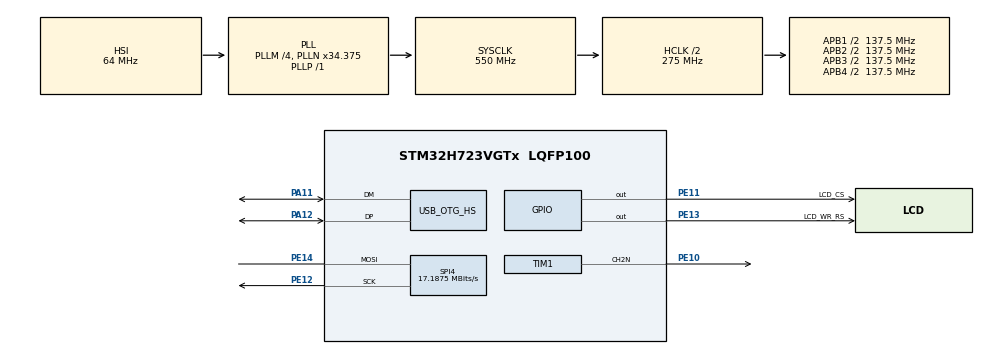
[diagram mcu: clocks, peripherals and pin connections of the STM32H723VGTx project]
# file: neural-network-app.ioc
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CORTEX_M7.CPU_DCache=Enabled
CORTEX_M7.CPU_ICache=Enabled
Mcu.Family=STM32H7
Mcu.Name=STM32H723VGTx
Mcu.Package=LQFP100
NVIC.OTG_HS_IRQn=true\:0\:0\:false\:false\:true\:false\:true\:true
NVIC.PriorityGroup=NVIC_PRIORITYGROUP_4
PA11.Mode=Device_Only_FS
PA11.Signal=USB_OTG_HS_DM
PA12.Mode=Device_Only_FS
PA12.Signal=USB_OTG_HS_DP
PC14-OSC32_IN.Mode=LSE-External-Oscillator
PC14-OSC32_IN.Signal=RCC_OSC32_IN
PC15-OSC32_OUT.Mode=LSE-External-Oscillator
PC15-OSC32_OUT.Signal=RCC_OSC32_OUT
PE10.Mode=PWM Generation2 CH2N
PE10.Signal=TIM1_CH2N
PE11.GPIO_Label=LCD_CS
PE11.Signal=GPIO_Output
PE12.Mode=Simplex_Bidirectional_Master
PE12.Signal=SPI4_SCK
PE13.GPIO_Label=LCD_WR_RS
PE13.Signal=GPIO_Output
PE14.Mode=Simplex_Bidirectional_Master
PE14.Signal=SPI4_MOSI
PH0-OSC_IN.Mode=HSE-External-Oscillator
PH0-OSC_IN.Signal=RCC_OSC_IN
PH1-OSC_OUT.Mode=HSE-External-Oscillator
PH1-OSC_OUT.Signal=RCC_OSC_OUT
ProjectManager.HeapSize=0x800
ProjectManager.StackSize=0x800
ProjectManager.TargetToolchain=STM32CubeIDE
RCC.ADCFreq_Value=608000000
RCC.APB1Freq_Value=137500000
RCC.APB2Freq_Value=137500000
RCC.APB3Freq_Value=137500000
RCC.APB4Freq_Value=137500000
RCC.CortexFreq_Value=550000000
RCC.D1PPRE=RCC_APB3_DIV2
RCC.D2PPRE1=RCC_APB1_DIV2
RCC.D2PPRE2=RCC_APB2_DIV2
RCC.D3PPRE=RCC_APB4_DIV2
RCC.DIVM1=4
RCC.DIVM2=1
RCC.DIVN1=34
RCC.DIVN2=19
RCC.DIVP1=1
RCC.DIVQ1=4
RCC.HCLKFreq_Value=275000000
RCC.HPRE=RCC_HCLK_DIV2
RCC.HSE_VALUE=8000000
RCC.PLLFRACN=3072
RCC.SYSCLKFreq_VALUE=550000000
RCC.SYSCLKSource=RCC_SYSCLKSOURCE_PLLCLK
RCC.USBCLockSelection=RCC_USBCLKSOURCE_HSI48
RCC.USBFreq_Value=48000000
SPI4.BaudRatePrescaler=SPI_BAUDRATEPRESCALER_8
SPI4.CalculateBaudRate=17.1875 MBits/s
SPI4.DataSize=SPI_DATASIZE_8BIT
SPI4.Direction=SPI_DIRECTION_1LINE
SPI4.Mode=SPI_MODE_MASTER
SPI4.VirtualType=VM_MASTER
STMicroelectronics.X-CUBE-AI.9.1.0.ActivationBufferSizeList=3828
STMicroelectronics.X-CUBE-AI.9.1.0.ActivationBuffers=pool0
STMicroelectronics.X-CUBE-AI.9.1.0.ActivationNames=pool0
STMicroelectronics.X-CUBE-AI.9.1.0.ActivationSizes=AI_NETWORK_DATA_ACTIVATION_1_SIZE
STMicroelectronics.X-CUBE-AI.9.1.0.ApplicationCcDeviceJjApplication=ApplicationTemplate
STMicroelectronics.X-CUBE-AI.9.1.0.HeapSize=0x800
STMicroelectronics.X-CUBE-AI.9.1.0.InternalRamActivationBufferMaxSize=AI_NETWORK_DATA_ACTIVATIONS_SIZE
STMicroelectronics.X-CUBE-AI.9.1.0.LatestDirectoryUsed-e6a40e1d475e88a3827beaaaf58f05d9b576204771f68cf89b49b710805a1c03=/home/freire/experiments/cube-experiments/neural-network-app
STMicroelectronics.X-CUBE-AI.9.1.0.MaximumNumberOfInputLayer=1
STMicroelectronics.X-CUBE-AI.9.1.0.MaximumNumberOfOutputLayer=1
STMicroelectronics.X-CUBE-AI.9.1.0.MaximumSizeOfInputLayer=1
STMicroelectronics.X-CUBE-AI.9.1.0.MaximumSizeOfOutputLayer=1
STMicroelectronics.X-CUBE-AI.9.1.0.ModelActualCompression-e6a40e1d475e88a3827beaaaf58f05d9b576204771f68cf89b49b710805a1c03=0.0
STMicroelectronics.X-CUBE-AI.9.1.0.ModelCompression-e6a40e1d475e88a3827beaaaf58f05d9b576204771f68cf89b49b710805a1c03=None
STMicroelectronics.X-CUBE-AI.9.1.0.ModelFlashOccupation-e6a40e1d475e88a3827beaaaf58f05d9b576204771f68cf89b49b710805a1c03=211914
STMicroelectronics.X-CUBE-AI.9.1.0.ModelHashList=e6a40e1d475e88a3827beaaaf58f05d9b576204771f68cf89b49b710805a1c03
STMicroelectronics.X-CUBE-AI.9.1.0.ModelKind-e6a40e1d475e88a3827beaaaf58f05d9b576204771f68cf89b49b710805a1c03=TFLITE
STMicroelectronics.X-CUBE-AI.9.1.0.ModelMacc-e6a40e1d475e88a3827beaaaf58f05d9b576204771f68cf89b49b710805a1c03=50817
STMicroelectronics.X-CUBE-AI.9.1.0.ModelName-e6a40e1d475e88a3827beaaaf58f05d9b576204771f68cf89b49b710805a1c03=network
STMicroelectronics.X-CUBE-AI.9.1.0.ModelNameList=network
STMicroelectronics.X-CUBE-AI.9.1.0.ModelRamOccupation-e6a40e1d475e88a3827beaaaf58f05d9b576204771f68cf89b49b710805a1c03=3828
STMicroelectronics.X-CUBE-AI.9.1.0.ModelStructureFile-e6a40e1d475e88a3827beaaaf58f05d9b576204771f68cf89b49b710805a1c03=model_vbp5.tflite
STMicroelectronics.X-CUBE-AI.9.1.0.ModelType-e6a40e1d475e88a3827beaaaf58f05d9b576204771f68cf89b49b710805a1c03=STM32Cube.AI MCU runtime
STMicroelectronics.X-CUBE-AI.9.1.0.ReadyForCodeGeneration=true
STMicroelectronics.X-CUBE-AI.9.1.0.StackSize=0x800
STMicroelectronics.X-CUBE-AI.9.1.0.WorkingBufferStartAddrList=0xFFFFFFFF
STMicroelectronics.X-CUBE-AI.9.1.0.XAaCUBEAaAICcArtificialOoIntelligenceJjCore=true
STMicroelectronics.X-CUBE-AI.9.1.0.copyWeightToRam=false
STMicroelectronics.X-CUBE-AI.9.1.0.copyWeightToRam-e6a40e1d475e88a3827beaaaf58f05d9b576204771f68cf89b49b710805a1c03=false
STMicroelectronics.X-CUBE-AI.9.1.0.customLayerConfigEnabled=false
STMicroelectronics.X-CUBE-AI.9.1.0.customLayerConfigEnabled-e6a40e1d475e88a3827beaaaf58f05d9b576204771f68cf89b49b710805a1c03=false
STMicroelectronics.X-CUBE-AI.9.1.0.noOnnxIoTranspose=false
STMicroelectronics.X-CUBE-AI.9.1.0.noOnnxIoTranspose-e6a40e1d475e88a3827beaaaf58f05d9b576204771f68cf89b49b710805a1c03=false
STMicroelectronics.X-CUBE-AI.9.1.0.optimization=time
STMicroelectronics.X-CUBE-AI.9.1.0.optimization-e6a40e1d475e88a3827beaaaf58f05d9b576204771f68cf89b49b710805a1c03=time
STMicroelectronics.X-CUBE-AI.9.1.0.useInputAllocation=true
STMicroelectronics.X-CUBE-AI.9.1.0.useInputAllocation-e6a40e1d475e88a3827beaaaf58f05d9b576204771f68cf89b49b710805a1c03=true
STMicroelectronics.X-CUBE-AI.9.1.0.useOutputAllocation=true
STMicroelectronics.X-CUBE-AI.9.1.0.useOutputAllocation-e6a40e1d475e88a3827beaaaf58f05d9b576204771f68cf89b49b710805a1c03=true
TIM1.Channel-PWM\ Generation2\ CH2N=TIM_CHANNEL_2
TIM1.Period=1000-1
TIM1.Prescaler=14-1
USB_DEVICE.CLASS_NAME_HS=CDC
USB_DEVICE.VirtualMode=Cdc
USB_DEVICE.VirtualModeHS=Cdc_HS
USB_OTG_HS.VirtualMode-Device_Only_FS=Device_Only_FS
VP_STMicroelectronics.X-CUBE-AI_VS_ArtificialOoIntelligenceJjXAaCUBEAaAI_9.1.0.Mode=ArtificialOoIntelligenceJjXAaCUBEAaAI
VP_STMicroelectronics.X-CUBE-AI_VS_DeviceJjApplication_9.1.0.Mode=DeviceJjApplication
VP_USB_DEVICE_VS_USB_DEVICE_CDC_HS.Mode=CDC_HS
board=custom

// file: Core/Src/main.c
/* USER CODE BEGIN Header */
/**
  ******************************************************************************
  * @file           : main.c
  * @brief          : Main program body
  ******************************************************************************
  * @attention
  *
  * Copyright (c) 2024 STMicroelectronics.
  * All rights reserved.
  *
  * This software is licensed under terms that can be found in the LICENSE file
  * in the root directory of this software component.
  * If no LICENSE file comes with this software, it is provided AS-IS.
  *
  ******************************************************************************
  */
/* USER CODE END Header */
#include "main.h"
#include "spi.h"
#include "tim.h"
#include "usb_device.h"
#include "gpio.h"
#include "app_x-cube-ai.h"

/* USER CODE BEGIN Includes */
#include "usbd_cdc_if.h"
#include "ai_datatypes_defines.h"
#include "ai_platform.h"
#include "network.h"
#include "network_data.h"
#include "board.h"
#include "lcd.h"
/* USER CODE END Includes */

/* USER CODE BEGIN PD */
#define SAMPLES_NUMBER	10
/* USER CODE END PD */

/* USER CODE BEGIN PV */
typedef struct {
	float ammonia;
	float nitrite;
	float temperature;
	float pH;
}input_data_t;

static input_data_t samples_input[SAMPLES_NUMBER] = {
		{1.325, 0.075, 25.000, 7.850},
		{0.500, 0.450, 27.500, 7.750},
		{0.432, 0.340, 26.500, 7.800},
		{0.285, 0.500, 27.500, 7.650},
		{0.000, 0.290, 26.000, 7.800},
		{0.250, 0.300, 26.000, 7.850},
		{0.000, 0.190, 25.600, 7.900},
		{1.500, 0.125, 25.000, 7.900},
		{0.810, 0.500, 29.000, 7.100},
		{0.100, 0.400, 26.900, 7.500},

};

static float expected_output[SAMPLES_NUMBER] = {
		6.600,
		6.300,
		6.800,
		6.700,
		6.600,
		7.000,
		6.400,
		6.500,
		5.700,
		8.000,

};

float inference_output[SAMPLES_NUMBER] = {0};
/* USER CODE END PV */

void SystemClock_Config(void);
/* USER CODE BEGIN PFP */
void appInitLCD(void);
void appDisplayInference(float inference_value, float expected_value, float ticks);
/* USER CODE END PFP */

/* USER CODE BEGIN 0 */
/* Global handle to reference the instantiated C-model */
static ai_handle network = AI_HANDLE_NULL;

/* Global c-array to handle the activations buffer */
AI_ALIGNED(32)
static ai_u8 activations[AI_NETWORK_DATA_ACTIVATIONS_SIZE];

/* Array to store the data of the input tensor */
AI_ALIGNED(32)
static ai_float in_data[AI_NETWORK_IN_1_SIZE];
/* or static ai_u8 in_data[AI_NETWORK_IN_1_SIZE_BYTES]; */

/* c-array to store the data of the output tensor */
AI_ALIGNED(32)
static ai_float out_data[AI_NETWORK_OUT_1_SIZE];
/* static ai_u8 out_data[AI_NETWORK_OUT_1_SIZE_BYTES]; */

/* Array of pointer to manage the model's input/output tensors */
static ai_buffer *ai_input;
static ai_buffer *ai_output;

uint32_t DWT_Init(void){
	/* Disable TRC */
	CoreDebug->DEMCR &= ~CoreDebug_DEMCR_TRCENA_Msk;
	/* Enable TRC */
	CoreDebug->DEMCR |=  CoreDebug_DEMCR_TRCENA_Msk;

    /* Disable clock cycle counter */
    DWT->CTRL &= ~DWT_CTRL_CYCCNTENA_Msk; //~0x00000001;
    /* Enable  clock cycle counter */
    DWT->CTRL |=  DWT_CTRL_CYCCNTENA_Msk; //0x00000001;

    /* Reset the clock cycle counter value */
    DWT->CYCCNT = 0;

    /* 3 NO OPERATION instructions */
    __ASM volatile ("NOP");
    __ASM volatile ("NOP");
    __ASM volatile ("NOP");

    /* Check if clock cycle counter has started */
    if(DWT->CYCCNT)
    {
       return 0; /*clock cycle counter started*/
    }
    else
    {
      return 1; /*clock cycle counter not started*/
    }
}

/*
 * Bootstrap
 */
int aiInit(void) {
  ai_error err;

  /* Create and initialize the c-model */
  const ai_handle acts[] = { activations };
  err = ai_network_create_and_init(&network, acts, NULL);
  if (err.type != AI_ERROR_NONE)
  {
	  return 0;
  }
  /* Retrieve pointers to the model's input/output tensors */
  ai_input = ai_network_inputs_get(network, NULL);
  ai_output = ai_network_outputs_get(network, NULL);

  return 0;
}

/*
 * Run inference
 */
int aiRun(const void *in_data, void *out_data) {
  ai_i32 n_batch;
  ai_error err;

  /* 1 - Update IO handlers with the data payload */
  ai_input[0].data = AI_HANDLE_PTR(in_data);
  ai_output[0].data = AI_HANDLE_PTR(out_data);

  /* 2 - Perform the inference */
  n_batch = ai_network_run(network, &ai_input[0], &ai_output[0]);
  if (n_batch != 1) {
      err = ai_network_get_error(network);
  };

  return 0;
}

int aiPreProcess(ai_float* input_array, int index) {

	input_array[0] = samples_input[index].ammonia; // Ammonia value
	input_array[1] = samples_input[index].nitrite; // Nitrite
	input_array[2] = samples_input[index].temperature;	// Temperature
	input_array[3] = samples_input[index].pH;  // pH

	return 0;
}

int aiPostProcess(ai_float* inference_value, int index, float inference_time) {
//	float convertToUS = (inference_time / HAL_RCC_GetHCLKFreq()) * 1000000;
	float time = 0;
  uint8_t txBuffer[40] = {0};
	//Store inference output on comparison buffer
	inference_output[index] = inference_value[0];
	time = (inference_time / HAL_RCC_GetHCLKFreq()) * 1000000;
	appDisplayInference(inference_value[0], expected_output[index], time);
  sprintf(txBuffer, "Expected: %.3f\n\rInference: %.3f\n\r", expected_output[index], inference_value[0]);
	CDC_Transmit_HS(txBuffer, 40);
	return 0;
}

/* USER CODE END 0 */

int main(void)
{
/* Enable the CPU Cache */

  /* Enable I-Cache---------------------------------------------------------*/
  SCB_EnableICache();

  /* Enable D-Cache---------------------------------------------------------*/
//  SCB_EnableDCache();

  /* MCU Configuration--------------------------------------------------------*/

  /* Reset of all peripherals, Initializes the Flash interface and the Systick. */
  HAL_Init();

  /* Configure the system clock */
  SystemClock_Config();

  /* Initialize all configured peripherals */
  MX_GPIO_Init();
  MX_SPI4_Init();
  MX_TIM1_Init();
  MX_USB_DEVICE_Init();
//  MX_X_CUBE_AI_Init();
  /* USER CODE BEGIN 2 */
  DWT_Init();
  /* USER CODE END 2 */

  /* Infinite loop */
  /* USER CODE BEGIN WHILE */
  uint32_t ticks = DWT->CYCCNT;
  appInitLCD();
  HAL_Delay(1500);
  LCD_SetBrightness(0);
  ST7735_FillRect(&st7735_pObj, 0,0, ST7735Ctx.Width, 80, BLACK);
  uint8_t text[] = "Hello world!";
  sprintf((char *)&text, "Device took %03d ms to boot!", ((HAL_GetTick() - ticks)));
  LCD_ShowString(4, 4, 160, 16, 16, text);

  aiInit();
  while (1)
  {
	  for(int i = 0; i < SAMPLES_NUMBER; i++) {
	  /* Put data onto input buffers */
	  aiPreProcess(in_data, i);
	  ticks = DWT->CYCCNT;
	  /* Call inference engine */
	  aiRun(in_data, out_data); // All the network initialization and in/out handling is done in 'app_x-cube-ai.c'
	  /* Post-process data */
	  ticks = (DWT->CYCCNT) - ticks;
	  aiPostProcess(out_data, i, ticks);

	  HAL_Delay(1000);
	  }
	 __asm("NOP");
    /* USER CODE END WHILE */

//  MX_X_CUBE_AI_Process();
  }
}

void SystemClock_Config(void)
{
  RCC_OscInitTypeDef RCC_OscInitStruct = {0};
  RCC_ClkInitTypeDef RCC_ClkInitStruct = {0};

  /** Supply configuration update enable
  */
  HAL_PWREx_ConfigSupply(PWR_LDO_SUPPLY);

  /** Configure the main internal regulator output voltage
  */
  __HAL_PWR_VOLTAGESCALING_CONFIG(PWR_REGULATOR_VOLTAGE_SCALE0);

  while(!__HAL_PWR_GET_FLAG(PWR_FLAG_VOSRDY)) {}

  /** Initializes the RCC Oscillators according to the specified parameters
  * in the RCC_OscInitTypeDef structure.
  */
  RCC_OscInitStruct.OscillatorType = RCC_OSCILLATORTYPE_HSI48|RCC_OSCILLATORTYPE_HSI;
  RCC_OscInitStruct.HSIState = RCC_HSI_DIV1;
  RCC_OscInitStruct.HSICalibrationValue = 64;
  RCC_OscInitStruct.HSI48State = RCC_HSI48_ON;
  RCC_OscInitStruct.PLL.PLLState = RCC_PLL_ON;
  RCC_OscInitStruct.PLL.PLLSource = RCC_PLLSOURCE_HSI;
  RCC_OscInitStruct.PLL.PLLM = 4;
  RCC_OscInitStruct.PLL.PLLN = 34;
  RCC_OscInitStruct.PLL.PLLP = 1;
  RCC_OscInitStruct.PLL.PLLQ = 4;
  RCC_OscInitStruct.PLL.PLLR = 2;
  RCC_OscInitStruct.PLL.PLLRGE = RCC_PLL1VCIRANGE_3;
  RCC_OscInitStruct.PLL.PLLVCOSEL = RCC_PLL1VCOWIDE;
  RCC_OscInitStruct.PLL.PLLFRACN = 3072;
  if (HAL_RCC_OscConfig(&RCC_OscInitStruct) != HAL_OK)
  {
    Error_Handler();
  }

  /** Initializes the CPU, AHB and APB buses clocks
  */
  RCC_ClkInitStruct.ClockType = RCC_CLOCKTYPE_HCLK|RCC_CLOCKTYPE_SYSCLK
                              |RCC_CLOCKTYPE_PCLK1|RCC_CLOCKTYPE_PCLK2
                              |RCC_CLOCKTYPE_D3PCLK1|RCC_CLOCKTYPE_D1PCLK1;
  RCC_ClkInitStruct.SYSCLKSource = RCC_SYSCLKSOURCE_PLLCLK;
  RCC_ClkInitStruct.SYSCLKDivider = RCC_SYSCLK_DIV1;
  RCC_ClkInitStruct.AHBCLKDivider = RCC_HCLK_DIV2;
  RCC_ClkInitStruct.APB3CLKDivider = RCC_APB3_DIV2;
  RCC_ClkInitStruct.APB1CLKDivider = RCC_APB1_DIV2;
  RCC_ClkInitStruct.APB2CLKDivider = RCC_APB2_DIV2;
  RCC_ClkInitStruct.APB4CLKDivider = RCC_APB4_DIV2;

  if (HAL_RCC_ClockConfig(&RCC_ClkInitStruct, FLASH_LATENCY_3) != HAL_OK)
  {
    Error_Handler();
  }
}

/* USER CODE BEGIN 4 */
void appInitLCD(void){
	uint8_t text[20] = {0};

	ST7735Ctx.Orientation = ST7735_ORIENTATION_LANDSCAPE_ROT180;
	ST7735Ctx.Panel = HannStar_Panel;
	ST7735Ctx.Type = ST7735_0_9_inch_screen;

	ST7735_RegisterBusIO(&st7735_pObj,&st7735_pIO);
	ST7735_LCD_Driver.Init(&st7735_pObj,ST7735_FORMAT_RBG565,&ST7735Ctx);
	ST7735_LCD_Driver.ReadID(&st7735_pObj,&st7735_id);

	LCD_SetBrightness(0);

	ST7735_LCD_Driver.FillRect(&st7735_pObj, 0, 0, ST7735Ctx.Width,ST7735Ctx.Height, BLACK);
	sprintf((char *)&text, "Starting App");
	LCD_ShowString(4, 4, ST7735Ctx.Width, 16, 16, text);
	sprintf((char *)&text, "Booting up device");
	LCD_ShowString(4, 22, ST7735Ctx.Width, 16, 16, text);

	LCD_Light(100, 200);

}

void appDisplayInference(float inference_value, float expected_value, float ticks) {
	uint8_t string_expected[50] = {0};
	uint8_t string_inference[50] = {0};
	uint8_t string_time[30] = {0};
	uint8_t string_mse[30] = {0};
	float mse_result = 0;

	mse_result = powf((inference_value - expected_value), 2);

	LCD_SetBrightness(0);
	ST7735_LCD_Driver.FillRect(&st7735_pObj, 0, 0, ST7735Ctx.Width,ST7735Ctx.Height, BLACK);

	sprintf((char *)&string_expected, "Expected: %.3f", expected_value);
	LCD_ShowString(4, 4, ST7735Ctx.Width, 16, 16, string_expected);

	sprintf((char *)&string_inference, "Inference: %.3f", inference_value);
	LCD_ShowString(4, 22, ST7735Ctx.Width, 16, 16, string_inference);

	sprintf((char *)&string_mse, "MSE: %.4f", mse_result);
	LCD_ShowString(4, 40, ST7735Ctx.Width, 16, 16, string_mse);

	sprintf((char *)&string_time, "Time: %.2fus", ticks);
	LCD_ShowString(4, 60, ST7735Ctx.Width, 16, 16, string_time);
}
/* USER CODE END 4 */

void Error_Handler(void)
{
  __disable_irq();
  while (1)
  {
  }
}
